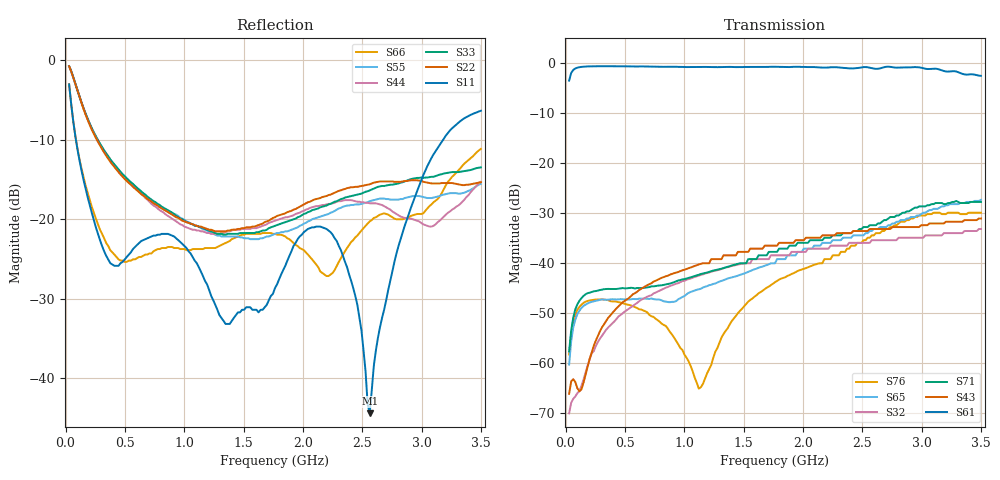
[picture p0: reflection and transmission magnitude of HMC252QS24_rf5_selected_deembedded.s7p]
!Hittite Microwave Corporation
!12 Elizabeth Drive
!Chelmsford, MA 01824
!Tel: 978-250-3343
!Fax: 978-250-3373
!Device: HMC252QS24, DC-3 GHz GaAS MMIC SP6T Non-Reflective Switch in 24-lead QSOP package
!Misc: Port 1 = RFCom, Port 2 = RF1, Port 3 = RF2, Port 4 = RF3, Port 5 = RF4, Port 6 = RF5, Port 7 = RF6, RF5 selected, Vdd=+5V
# MHZ S MA R 50
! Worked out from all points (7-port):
!   201 points, 30 MHz to 3.5 GHz, reference 50 ohm
!   strongest paths, dB at 30 MHz, 897.5 MHz, 1.765 GHz, 2.632 GHz, 3.5 GHz:
!     S61: -3.5, -0.7, -0.7, -1.1, -2.5
!     S43: -66.1, -42.1, -36.5, -33.2, -31.1
!     S71: -57.6, -43.9, -37.7, -32.0, -27.7
!     S32: -70.0, -44.4, -38.4, -35.4, -33.2
!     S65: -60.3, -47.7, -40.0, -33.2, -27.3
!     S76: -58.2, -54.3, -43.8, -34.0, -29.9
!   lowest |S11| = -44.4 dB at 2.563 GHz (marker M1), VSWR 1.01, Z = 49.5 + j0.34 ohm
!   |S11| at or under -10 dB: 87.22 MHz to 3.181 GHz (3.093 GHz wide, 189 % of centre)
